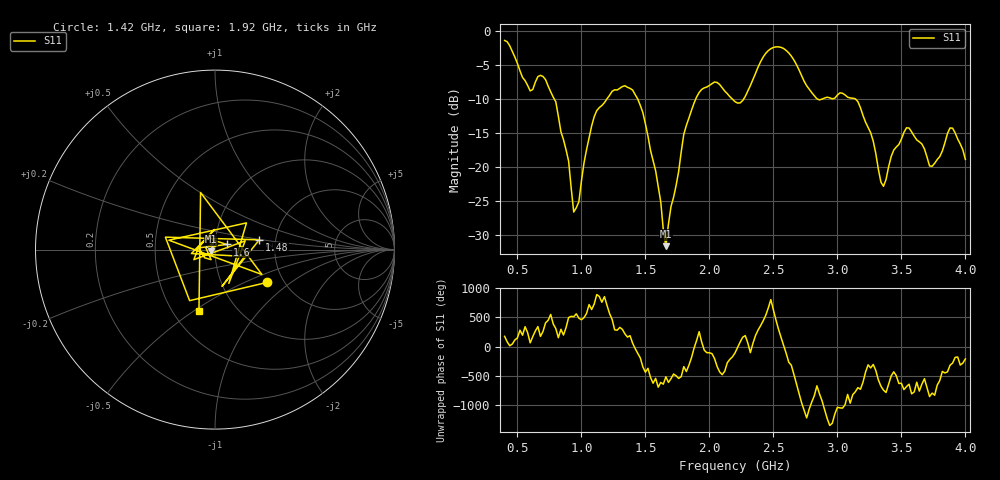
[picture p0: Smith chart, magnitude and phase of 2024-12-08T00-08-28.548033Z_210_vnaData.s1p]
!Created with skrf (http://scikit-rf.org).
# Hz S RI R 50.0
!freq ReS11 ImS11
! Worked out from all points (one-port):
!   181 points, 400 MHz to 4 GHz, reference 50 ohm
!   lowest |S11| = -31.6 dB at 1.66 GHz (marker M1), VSWR 1.05, Z = 47.6 - j0.919 ohm
!   |S11| at or under -10 dB: 788.9 MHz to 1.198 GHz (408.9 MHz wide, 41.2 % of centre); 1.441 GHz to 1.893 GHz (452 MHz wide, 27.1 % of centre); 3.143 GHz to end of sweep (the widest 3 of 5)
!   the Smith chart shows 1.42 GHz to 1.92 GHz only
!   S11 on the Smith chart (normalised r, x): 1.42 GHz: 1.64, -0.68; 1.48 GHz: 1.64, +0.19; 1.6 GHz: 1.14, +0.07; 1.92 GHz: 0.67, -0.53
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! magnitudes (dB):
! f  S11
! 400 MHz  -1.4
! 600 MHz  -8.8
! 720 MHz  -7.1
! 860 MHz  -15.9
! 900 MHz  -19.1
! 940 MHz  -26.6
! 980 MHz  -25.1
! 1.1 GHz  -12.6
! 1.3 GHz  -8.4
! 1.42 GHz  -9.3
! 1.48 GHz  -12.0
! 1.6 GHz  -22.8
! 1.66 GHz  -31.6
! 1.76 GHz  -20.6
! 1.8 GHz  -15.1
! 1.92 GHz  -9.0
! 2.06 GHz  -7.5
! 2.2 GHz  -10.4
! 2.48 GHz  -2.6
! 2.66 GHz  -4.2
! 2.84 GHz  -9.9
! 3.1 GHz  -9.8
! 3.26 GHz  -14.9
! 3.36 GHz  -22.8
! 3.56 GHz  -14.2
! 3.72 GHz  -19.8
! 3.88 GHz  -14.2
! 4 GHz  -18.8
